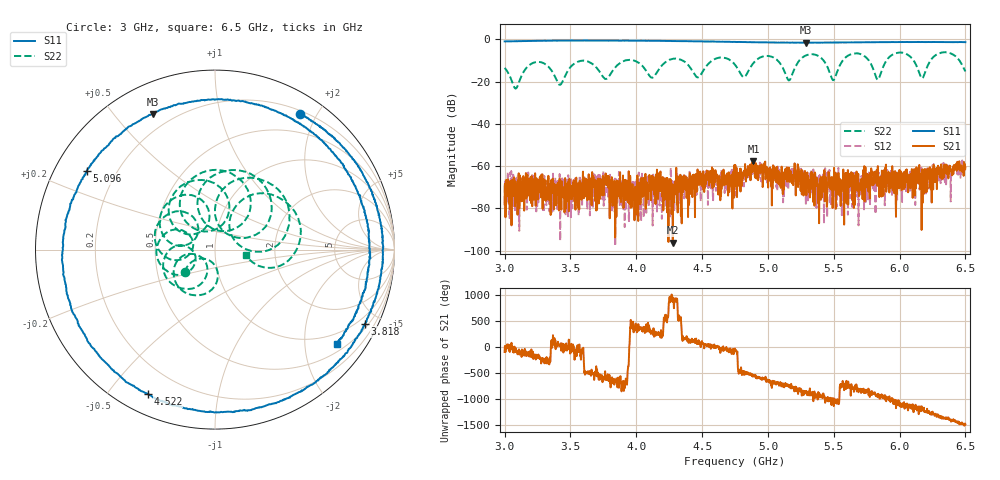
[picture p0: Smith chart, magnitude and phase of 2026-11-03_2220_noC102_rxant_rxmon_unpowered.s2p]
! HEWLETT PACKARD,8720ES,MY41003347,7.72, via bringup/vna_tests.py
! noC102_rxant_rxmon_unpowered
! measured 2026-11-03 22:21:51, 1601 points, 3000000000-6500000000 Hz, IF bandwidth 1000 Hz, source -40.00 dBm, kit CALK35MD
# HZ S RI R 50
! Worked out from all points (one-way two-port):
!   1601 points, 3 GHz to 6.5 GHz, reference 50 ohm
!   highest |S21| = -57.76 dB at 4.89 GHz (marker M1); lowest = -96.3 dB at 4.277 GHz (marker M2)
!   lowest |S11| = -1.6 dB at 5.288 GHz (marker M3), VSWR 10.79, Z = 6.51 + j31.7 ohm
!   |S11| at or under -10 dB: nowhere
!   |S22| runs from -23.4 to -6.1 dB; largest |S21 - S12| = 0.001
!   S11 on the Smith chart (normalised r, x): 3 GHz: 0.24, +1.77; 3.818 GHz: 0.66, -4.17; 4.522 GHz: 0.08, -0.63; 5.096 GHz: 0.09, +0.28; 6.5 GHz: 0.71, -2.77
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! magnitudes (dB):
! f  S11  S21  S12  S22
! 3 GHz  -1.0  -78.1  -69.2  -13.5
! 3.085 GHz  -0.9  -75.9  -73.0  -23.3
! 3.278 GHz  -0.7  -74.8  -66.5  -10.9
! 3.42 GHz  -0.6  -68.0  -71.5  -21.6
! 3.584 GHz  -0.6  -76.0  -71.7  -10.2
! 3.818 GHz  -0.6  -66.4  -80.7  -15.1
! 4.168 GHz  -0.7  -67.3  -64.5  -14.6
! 4.277 GHz  -0.8  -96.3  -68.1  -9.2
! 4.522 GHz  -1.1  -69.8  -65.5  -13.6
! 4.75 GHz  -1.2  -68.1  -74.0  -12.1
! 4.89 GHz  -1.4  -57.8  -63.7  -11.3
! 5.096 GHz  -1.5  -66.0  -63.1  -11.7
! 5.163 GHz  -1.6  -67.5  -65.1  -19.3
! 5.288 GHz  -1.6  -71.4  -77.9  -7.6
! 5.334 GHz  -1.6  -68.8  -62.8  -7.1
! 5.496 GHz  -1.5  -65.9  -68.9  -19.4
! 5.629 GHz  -1.5  -68.9  -67.7  -7.1
! 5.835 GHz  -1.3  -60.0  -61.4  -19.1
! 5.918 GHz  -1.3  -63.5  -64.1  -8.7
! 6.172 GHz  -1.3  -61.5  -64.0  -18.5
! 6.362 GHz  -1.3  -63.5  -63.5  -6.2
! 6.5 GHz  -1.3  -60.7  -59.9  -15.2
